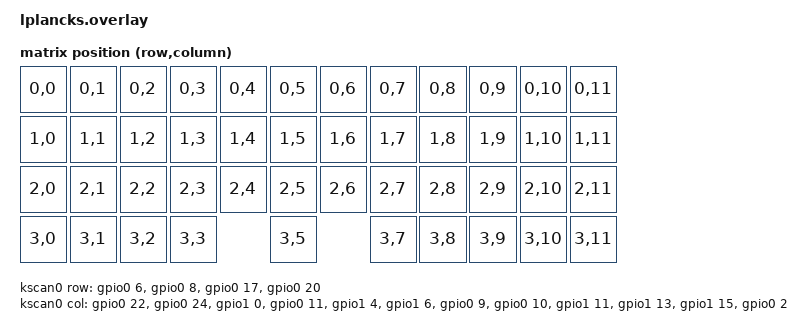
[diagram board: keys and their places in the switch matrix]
#include <dt-bindings/zmk/matrix_transform.h>

&pro_micro_spi {
	status = "okay";
	cs-gpios = <&pro_micro 10 GPIO_ACTIVE_LOW>;
	shifter: 595@0 {
		compatible = "zmk,gpio-595";
		status = "okay";
		gpio-controller;
		spi-max-frequency = <200000>;
		reg = <0>;
    #gpio-cells = <2>;
		ngpios = <8>;
	};
};

/ {

    chosen {
        zmk,kscan = &kscan0;
		zmk,matrix_transform = &default_transform;
    };

	aliases {
		led-caps = &led_0;
		led-num = &led_1;
		led-scroll = &led_2;
    };

  leds {
    compatible = "gpio-leds";
    status = "okay";
    led_0: led_0 {
			gpios = <&gpio1 1 (GPIO_ACTIVE_HIGH | GPIO_PULL_DOWN)>;
    };
    led_1: led_1 {
			gpios = <&gpio1 2 (GPIO_ACTIVE_HIGH | GPIO_PULL_DOWN)>;
    };
    led_2: led_2 {
			gpios = <&gpio1 7 (GPIO_ACTIVE_HIGH | GPIO_PULL_DOWN)>;
    };
  };


    default_transform: keymap_transform_0 {
        compatible = "zmk,matrix-transform";
        columns = <12>;
        rows = <4>;
        map = <
        RC(0,0) RC(0,1) RC(0,2) RC(0,3) RC(0,4) RC(0,5) RC(0,6) RC(0,7) RC(0,8) RC(0,9) RC(0,10) RC(0,11)
        RC(1,0) RC(1,1) RC(1,2) RC(1,3) RC(1,4) RC(1,5) RC(1,6) RC(1,7) RC(1,8) RC(1,9) RC(1,10) RC(1,11)
        RC(2,0) RC(2,1) RC(2,2) RC(2,3) RC(2,4) RC(2,5) RC(2,6) RC(2,7) RC(2,8) RC(2,9) RC(2,10) RC(2,11)
        RC(3,0) RC(3,1) RC(3,2) RC(3,3)         RC(3,5)         RC(3,7) RC(3,8) RC(3,9) RC(3,10) RC(3,11) 
        >;
    };

    kscan0: kscan_0 {
        compatible = "zmk,kscan-gpio-matrix";
        label = "KSCAN";
        diode-direction = "col2row";

        col-gpios
            = <&gpio0 22 GPIO_ACTIVE_HIGH>
            , <&gpio0 24 GPIO_ACTIVE_HIGH>
            , <&gpio1  0 GPIO_ACTIVE_HIGH>
            , <&gpio0 11 GPIO_ACTIVE_HIGH>
            , <&gpio1  4 GPIO_ACTIVE_HIGH>
            , <&gpio1  6 GPIO_ACTIVE_HIGH>
            , <&gpio0  9 GPIO_ACTIVE_HIGH>
            , <&gpio0 10 GPIO_ACTIVE_HIGH>
            , <&gpio1 11 GPIO_ACTIVE_HIGH>
            , <&gpio1 13 GPIO_ACTIVE_HIGH>
            , <&gpio1 15 GPIO_ACTIVE_HIGH>
            , <&gpio0  2 GPIO_ACTIVE_HIGH>
            ;

        row-gpios
            = <&gpio0  6 (GPIO_ACTIVE_HIGH | GPIO_PULL_DOWN)>
            , <&gpio0  8 (GPIO_ACTIVE_HIGH | GPIO_PULL_DOWN)>
            , <&gpio0 17 (GPIO_ACTIVE_HIGH | GPIO_PULL_DOWN)>
            , <&gpio0 20 (GPIO_ACTIVE_HIGH | GPIO_PULL_DOWN)>
            ;
    };
};
